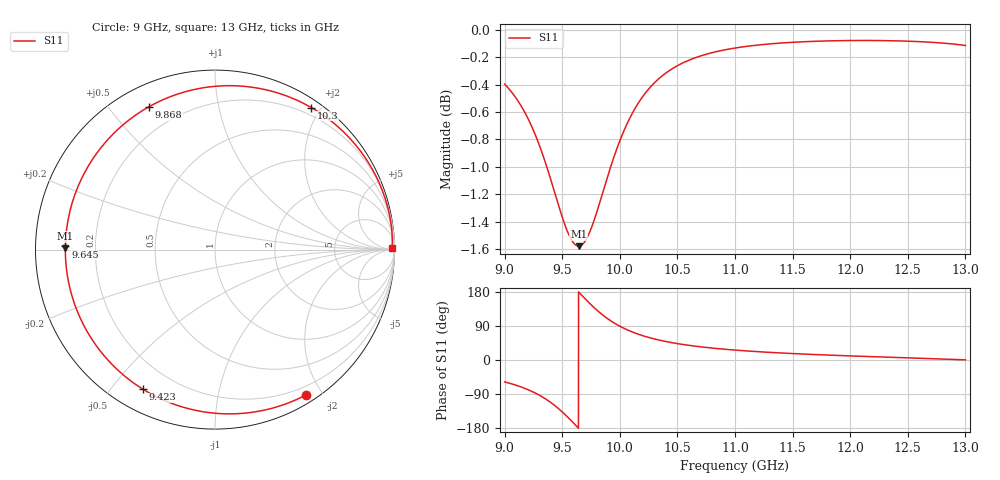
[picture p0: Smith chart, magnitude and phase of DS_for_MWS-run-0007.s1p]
! TOUCHSTONE file generated by CST DESIGN STUDIO
! Date and time: Tue Feb  4 17:04:25 2025
! Project name: C:\Work\MatlabApps\UnitCellOptimizationMatlab\CST\unitcell.cst
! Tree item: Tasks\Sweep1\SPara1\S-Parameters
! Header version: 2024
! Port assignment regex: !\s*Touchstone port\s*([0-9]+)\s*=\s*(CST MWS port|CST DES external port|CST DES block port)\s*(.+)\s* \(\"(.*)\"\)(\s*mode\s*([0-9]+))?.*
! Touchstone port assignment:
! Touchstone port 1 = CST DES external port 1 ("")
# GHz S MA R 50
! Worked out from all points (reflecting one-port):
!   4001 points, 9 GHz to 13 GHz, reference 50 ohm
!   lowest |S11| = -1.6 dB at 9.643 GHz (marker M1), VSWR 11.03, Z = 4.53 + j0.247 ohm
!   phase of S11 starts at -58 deg and turns -302 deg over the sweep
!   S11 on the Smith chart (normalised r, x): 9 GHz: 0.10, -1.81; 9.423 GHz: 0.09, -0.61; 9.645 GHz: 0.09, +0.01; 9.868 GHz: 0.09, +0.63; 10.3 GHz: 0.10, +1.88; 13 GHz: open
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9  0.9554 -57.8
9.134  0.9394 -70.1
9.263  0.9163 -86.7
9.349  0.8958 -101.5
9.423  0.8755 -117.2
9.462  0.8646 -126.7
9.5  0.8545 -136.9
9.576  0.8389 -159.3
9.61  0.8351 -170.0
9.643  0.8338 179.4
9.645  0.8338 178.8
9.702  0.8377 160.6
9.765  0.8493 141.6
9.816  0.8622 127.6
9.868  0.8767 114.9
9.93  0.8937 101.7
10  0.9109 89.2
10.069  0.9253 79.0
10.14  0.9373 70.3
10.215  0.9474 62.7
10.297  0.9561 55.8
10.5  0.9703 43.2
10.72  0.9788 34.1
11  0.9848 26.1
11.5  0.9896 17.0
12  0.991 10.8
12.5  0.9905 5.7
13  0.9869 0.4
